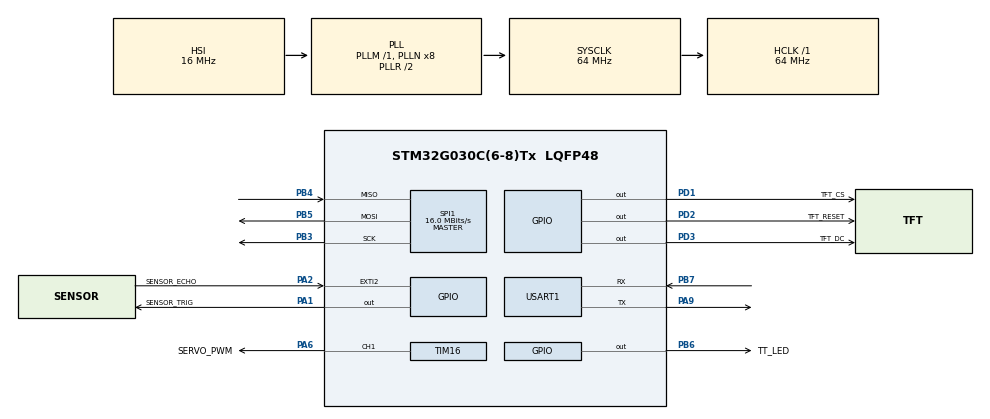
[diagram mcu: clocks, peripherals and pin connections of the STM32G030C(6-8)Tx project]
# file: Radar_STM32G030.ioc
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Dma.Request0=USART1_RX
Dma.Request1=USART1_TX
Dma.USART1_RX.0.Direction=DMA_PERIPH_TO_MEMORY
Dma.USART1_RX.0.EventEnable=DISABLE
Dma.USART1_RX.0.Instance=DMA1_Channel1
Dma.USART1_RX.0.MemDataAlignment=DMA_MDATAALIGN_BYTE
Dma.USART1_RX.0.MemInc=DMA_MINC_ENABLE
Dma.USART1_RX.0.Mode=DMA_NORMAL
Dma.USART1_RX.0.PeriphDataAlignment=DMA_PDATAALIGN_BYTE
Dma.USART1_RX.0.PeriphInc=DMA_PINC_DISABLE
Dma.USART1_RX.0.Polarity=HAL_DMAMUX_REQ_GEN_RISING
Dma.USART1_RX.0.Priority=DMA_PRIORITY_LOW
Dma.USART1_RX.0.RequestNumber=1
Dma.USART1_RX.0.SignalID=NONE
Dma.USART1_RX.0.SyncEnable=DISABLE
Dma.USART1_RX.0.SyncPolarity=HAL_DMAMUX_SYNC_NO_EVENT
Dma.USART1_RX.0.SyncRequestNumber=1
Dma.USART1_RX.0.SyncSignalID=NONE
Dma.USART1_TX.1.Direction=DMA_MEMORY_TO_PERIPH
Dma.USART1_TX.1.EventEnable=DISABLE
Dma.USART1_TX.1.Instance=DMA1_Channel2
Dma.USART1_TX.1.MemDataAlignment=DMA_MDATAALIGN_BYTE
Dma.USART1_TX.1.MemInc=DMA_MINC_ENABLE
Dma.USART1_TX.1.Mode=DMA_NORMAL
Dma.USART1_TX.1.PeriphDataAlignment=DMA_PDATAALIGN_BYTE
Dma.USART1_TX.1.PeriphInc=DMA_PINC_DISABLE
Dma.USART1_TX.1.Polarity=HAL_DMAMUX_REQ_GEN_RISING
Dma.USART1_TX.1.Priority=DMA_PRIORITY_LOW
Dma.USART1_TX.1.RequestNumber=1
Dma.USART1_TX.1.SignalID=NONE
Dma.USART1_TX.1.SyncEnable=DISABLE
Dma.USART1_TX.1.SyncPolarity=HAL_DMAMUX_SYNC_NO_EVENT
Dma.USART1_TX.1.SyncRequestNumber=1
Dma.USART1_TX.1.SyncSignalID=NONE
Mcu.Family=STM32G0
Mcu.Name=STM32G030C(6-8)Tx
Mcu.Package=LQFP48
NVIC.DMA1_Channel1_IRQn=true\:0\:0\:false\:false\:true\:false\:true\:true
NVIC.DMA1_Channel2_3_IRQn=true\:0\:0\:false\:false\:true\:false\:true\:true
NVIC.EXTI2_3_IRQn=true\:1\:0\:true\:false\:true\:true\:true\:true
NVIC.TIM14_IRQn=true\:1\:0\:true\:false\:true\:true\:true\:true
NVIC.TIM16_IRQn=true\:1\:0\:true\:true\:true\:1\:true\:true\:true
NVIC.TIM3_IRQn=true\:0\:0\:false\:false\:true\:true\:true\:true
NVIC.USART1_IRQn=true\:0\:0\:false\:false\:true\:true\:true\:true
PA1.GPIO_Label=SENSOR_TRIG
PA1.Signal=GPIO_Output
PA13.Mode=Serial_Wire
PA13.Signal=SYS_SWDIO
PA14-BOOT0.Mode=Serial_Wire
PA14-BOOT0.Signal=SYS_SWCLK
PA2.GPIO_Label=SENSOR_ECHO
PA2.GPIO_ModeDefaultEXTI=GPIO_MODE_IT_RISING_FALLING
PA2.Signal=GPXTI2
PA6.GPIO_Label=SERVO_PWM
PA6.Signal=S_TIM16_CH1
PA9.Mode=Asynchronous
PA9.Signal=USART1_TX
PB3.Mode=Full_Duplex_Master
PB3.Signal=SPI1_SCK
PB4.Mode=Full_Duplex_Master
PB4.Signal=SPI1_MISO
PB5.Mode=Full_Duplex_Master
PB5.Signal=SPI1_MOSI
PB6.GPIO_Label=TT_LED
PB6.PinState=GPIO_PIN_SET
PB6.Signal=GPIO_Output
PB7.Mode=Asynchronous
PB7.Signal=USART1_RX
PD1.GPIO_Label=TFT_CS
PD1.PinState=GPIO_PIN_SET
PD1.Signal=GPIO_Output
PD2.GPIO_Label=TFT_RESET
PD2.PinState=GPIO_PIN_SET
PD2.Signal=GPIO_Output
PD3.GPIO_Label=TFT_DC
PD3.PinState=GPIO_PIN_SET
PD3.Signal=GPIO_Output
ProjectManager.HeapSize=0x200
ProjectManager.StackSize=0x400
ProjectManager.TargetToolchain=STM32CubeIDE
RCC.ADCFreq_Value=64000000
RCC.AHBFreq_Value=64000000
RCC.CortexFreq_Value=64000000
RCC.EXTERNAL_CLOCK_VALUE=12288000
RCC.HCLKFreq_Value=64000000
RCC.HSE_VALUE=8000000
RCC.HSI_VALUE=16000000
RCC.LSE_VALUE=32768
RCC.SYSCLKFreq_VALUE=64000000
RCC.SYSCLKSource=RCC_SYSCLKSOURCE_PLLCLK
RCC.VCOOutputFreq_Value=128000000
SH.S_TIM16_CH1.0=TIM16_CH1,PWM Generation1 CH1
SPI1.BaudRatePrescaler=SPI_BAUDRATEPRESCALER_4
SPI1.CalculateBaudRate=16.0 MBits/s
SPI1.Direction=SPI_DIRECTION_2LINES
SPI1.Mode=SPI_MODE_MASTER
SPI1.VirtualType=VM_MASTER
TIM14.Period=1000-1
TIM14.Prescaler=64000-1
TIM16.Channel=TIM_CHANNEL_1
TIM16.Period=19999
TIM16.Prescaler=63
TIM16.Pulse=10000
TIM17.Prescaler=63
TIM3.Period=1000-1
TIM3.Prescaler=64000-1
USART1.RxPinLevelInvertParam=ADVFEATURE_RXINV_DISABLE
USART1.TxPinLevelInvertParam=ADVFEATURE_TXINV_DISABLE
USART1.VirtualMode-Asynchronous=VM_ASYNC
VP_TIM14_VS_ClockSourceINT.Mode=Enable_Timer
VP_TIM16_VS_ClockSourceINT.Mode=Enable_Timer
VP_TIM17_VS_ClockSourceINT.Mode=Enable_Timer
VP_TIM3_VS_ClockSourceINT.Mode=Internal
board=custom

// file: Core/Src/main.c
/* USER CODE BEGIN Header */
/**
 * @file main.c
 *
 * @brief Main source file of ultrasonic radar project.
 *
 * @author Kamil Kośnik, Kacper Radzikowski
 * @see https://github.com/FRSH-0109/Radar_Project_PMIK_2023Z
 *
 * \mainpage Ultrasonic Radar Project Documentation
 *
 * Project consists of few independent modules as servomechanism,
 * ultrasonic distance sensor, LCD display and more. Main goal of
 * the project was to achieve distance measurement on 180 degrees surface.
 * Everything is displayed in real time on the TFT LCD screen.
 * Device is able to communicate via uart iterface, which can be used to control
 * and parameterize whole device.
 *
 * \subsection Authors
 * Kamil Kośnik
 * Kacper Radzikowski
 *
 */
/* USER CODE END Header */
#include "main.h"
#include "dma.h"
#include "spi.h"
#include "tim.h"
#include "usart.h"
#include "gpio.h"

/* USER CODE BEGIN Includes */
#include <math.h>
#include "usart_custom.h"
#include "servo_driver.h"
#include "ILI9341.h"
#include "GFX_Color.h"
#include "fonts/font_8x5.h"
#include "distance_sensor.h"
#include "radar.h"
/* USER CODE END Includes */

/* USER CODE BEGIN PV */
servoDriverStruct servoPA6;					/**< Servo conncted to PA6 pin structure*/
distanceSensorStruct distanceSensorPA2;		/**< Sensor conncted to PA2 pin structure*/

radarStruct radar;							/**< Radar structure*/
drawHelperStruct drawHelper;				/**< Draw helper structure*/

UART_Custom_HandleTypeDef huartPC;			/**< Cusomt uart connected to PC structure*/
UART_Queue uartQueuePC;						/**< Uart connected to PC Queue*/
extern DMA_HandleTypeDef hdma_usart1_rx;
extern DMA_HandleTypeDef hdma_usart1_tx;
/* USER CODE END PV */

void SystemClock_Config(void);
static void MX_NVIC_Init(void);

int main(void)
{

  /* MCU Configuration--------------------------------------------------------*/

  /* Reset of all peripherals, Initializes the Flash interface and the Systick. */

	HAL_Init();

  /* Configure the system clock */
  SystemClock_Config();

  /* Initialize all configured peripherals */
  MX_GPIO_Init();
  MX_DMA_Init();
  MX_TIM16_Init();
  MX_SPI1_Init();
  MX_TIM17_Init();
  MX_TIM14_Init();
  MX_TIM3_Init();
  MX_USART1_UART_Init();

  /* Initialize interrupts */
  MX_NVIC_Init();
  /* USER CODE BEGIN 2 */

  ILI9341_Init(&hspi1);					/**< Init of display*/
  ILI9341_WriteScreen(ILI9341_BLACK);
  GFX_SetFont(font_8x5);

  servoDriverInit(&servoPA6, 0, 180, 700, 2650);	/**< Init of servo and sensor*/
  distanceSensorInit(&distanceSensorPA2, 58.0f);

  uartCustomInit(&huartPC, &huart1, MAX_UART_RX_DATA_LEN, MAX_UART_TX_DATA_LEN);	/**< Custom uart init*/
  uartCustomReceiveDMA(&huartPC);
  __HAL_DMA_DISABLE_IT(&hdma_usart1_rx, DMA_IT_HT);

  radarInit(&radar, &servoPA6, &htim3, &distanceSensorPA2, &htim14);	/**< Radar init*/
  radarMeasureStart(&radar);											/**< Radar measure start*/
  radarServoStart(&radar);												/**< Radar servo movement start*/

  drawSetup();															/**< DrawHelper struct init*/
  /* USER CODE END 2 */

  /* Infinite loop */
  while (1)
  {

    /* USER CODE BEGIN 3 */

	 uartQueueReceive(&uartQueuePC);			/**< Receiving data in uart queue*/
	 uartQueueTransmit(&uartQueuePC, &huartPC); /**< Transmitting data from uart queue*/

	 drawMeasure();								/**< Drawing radar's measure*/
	 drawMeasureScale();						/**< Drawing measure's scale*/

  }
  /* USER CODE END 3 */
}

void SystemClock_Config(void)
{
  RCC_OscInitTypeDef RCC_OscInitStruct = {0};
  RCC_ClkInitTypeDef RCC_ClkInitStruct = {0};

  /** Configure the main internal regulator output voltage
  */
  HAL_PWREx_ControlVoltageScaling(PWR_REGULATOR_VOLTAGE_SCALE1);

  /** Initializes the RCC Oscillators according to the specified parameters
  * in the RCC_OscInitTypeDef structure.
  */
  RCC_OscInitStruct.OscillatorType = RCC_OSCILLATORTYPE_HSI;
  RCC_OscInitStruct.HSIState = RCC_HSI_ON;
  RCC_OscInitStruct.HSIDiv = RCC_HSI_DIV1;
  RCC_OscInitStruct.HSICalibrationValue = RCC_HSICALIBRATION_DEFAULT;
  RCC_OscInitStruct.PLL.PLLState = RCC_PLL_ON;
  RCC_OscInitStruct.PLL.PLLSource = RCC_PLLSOURCE_HSI;
  RCC_OscInitStruct.PLL.PLLM = RCC_PLLM_DIV1;
  RCC_OscInitStruct.PLL.PLLN = 8;
  RCC_OscInitStruct.PLL.PLLP = RCC_PLLP_DIV2;
  RCC_OscInitStruct.PLL.PLLR = RCC_PLLR_DIV2;
  if (HAL_RCC_OscConfig(&RCC_OscInitStruct) != HAL_OK)
  {
    Error_Handler();
  }

  /** Initializes the CPU, AHB and APB buses clocks
  */
  RCC_ClkInitStruct.ClockType = RCC_CLOCKTYPE_HCLK|RCC_CLOCKTYPE_SYSCLK
                              |RCC_CLOCKTYPE_PCLK1;
  RCC_ClkInitStruct.SYSCLKSource = RCC_SYSCLKSOURCE_PLLCLK;
  RCC_ClkInitStruct.AHBCLKDivider = RCC_SYSCLK_DIV1;
  RCC_ClkInitStruct.APB1CLKDivider = RCC_HCLK_DIV1;

  if (HAL_RCC_ClockConfig(&RCC_ClkInitStruct, FLASH_LATENCY_2) != HAL_OK)
  {
    Error_Handler();
  }
}

/**
  * @brief NVIC Configuration.
  * @retval None
  */
static void MX_NVIC_Init(void)
{
  /* TIM16_IRQn interrupt configuration */
  HAL_NVIC_SetPriority(TIM16_IRQn, 1, 0);
  HAL_NVIC_EnableIRQ(TIM16_IRQn);
}

/* USER CODE BEGIN 4 */

void drawClear()
{
	ILI9341_WriteScreen(ILI9341_BLACK);
}

void drawSetup()
{
	drawHelper.drawScale = DRAW_SCALE_DEFAULT;
	drawHelper.measureScalesNumber = MEASURE_SCALES_NUMBER_DEFAULT;

	if(drawHelper.measureScaleY == NULL)
	{
		drawHelper.measureScaleY = malloc(drawHelper.measureScalesNumber * sizeof(uint16_t));
	}

	if(drawHelper.measureScaleCm == NULL)
	{
		drawHelper.measureScaleCm = malloc(drawHelper.measureScalesNumber * sizeof(uint16_t));
	}

	drawHelper.xp = ILI9341_TFTWIDTH / 2, drawHelper.yp = ILI9341_TFTHEIGHT - 10;
	for(uint8_t i = 0; i < drawHelper.measureScalesNumber; ++i)
	{
		drawHelper.measureScaleY[i] = (ILI9341_TFTHEIGHT * (i + 1)) / (drawHelper.measureScalesNumber + 1);
		drawHelper.measureScaleCm[i] = drawHelper.measureScaleY[i] / drawHelper.drawScale;
	}
}

bool drawSetupUpdate(double drawScale, uint8_t measureScalesNumber)
{
	if(drawScale < 0)
	{
		return false;
	}

	if(measureScalesNumber > 10)
	{
		return false;
	}
	drawHelper.drawScale = drawScale;
	drawHelper.measureScalesNumber = measureScalesNumber;

	if(drawHelper.measureScaleY != NULL)
	{
		drawHelper.measureScaleY = realloc(drawHelper.measureScaleY, drawHelper.measureScalesNumber * sizeof(uint16_t));
	}
	else
	{
		drawHelper.measureScaleY = malloc(drawHelper.measureScalesNumber * sizeof(uint16_t));
	}

	if(drawHelper.measureScaleCm != NULL)
	{
		drawHelper.measureScaleCm = realloc(drawHelper.measureScaleCm, drawHelper.measureScalesNumber * sizeof(uint16_t));
	}
	else
	{
		drawHelper.measureScaleCm = malloc(drawHelper.measureScalesNumber * sizeof(uint16_t));
	}

	for(uint8_t i = 0; i < drawHelper.measureScalesNumber; ++i)
	{
		drawHelper.measureScaleY[i] = (ILI9341_TFTHEIGHT * (i + 1)) / (drawHelper.measureScalesNumber + 1);
		drawHelper.measureScaleCm[i] = drawHelper.measureScaleY[i] / drawHelper.drawScale;
	}

	return true;
}

void drawMeasure()
{
	double posErrorTreshold = 0.5;
	double dist = radarGetMeasure(&radar);
	double pos = radarGetPosition(&radar);
	double radians = pos * DEGREES_TO_RADIANS;
	int16_t yk = round(sin(radians) * dist * drawHelper.drawScale);
	int16_t xk = round(cos(radians) * dist * drawHelper.drawScale);

	GFX_DrawLine(drawHelper.xp, drawHelper.yp, xk + ILI9341_TFTWIDTH / 2, drawHelper.yp - yk, ILI9341_GREEN);

	if((pos + posErrorTreshold) >= radarGetPositionMax(&radar) || (pos - posErrorTreshold) <= radarGetPositionMin(&radar) )
	{
		drawClear();
	}
}

void drawMeasureScale()
{
	for(uint8_t i = 0; i < drawHelper.measureScalesNumber; ++i)
	{
		GFX_DrawCircleHelper(drawHelper.xp, drawHelper.yp,  drawHelper.measureScaleY[i], 0x01, ILI9341_RED);
		GFX_DrawCircleHelper(drawHelper.xp, drawHelper.yp,  drawHelper.measureScaleY[i], 0x02, ILI9341_RED);
		char* value[10] = {0};
		uint8_t len = sprintf((char *__restrict)value, "%dcm", drawHelper.measureScaleCm[i]);
		GFX_DrawString(drawHelper.xp - len, drawHelper.yp - drawHelper.measureScaleY[i], (char *__restrict)value, ILI9341_RED);
	}
}

void HAL_TIM_PeriodElapsedCallback(TIM_HandleTypeDef *htim)
{
	if(htim == radar.sensorTim)
	{
		radarTriggerMeasure(&radar);
	}
	else if(htim == radar.servoTim)
	{
		radarServoUpdate(&radar);
	}
}

/* Distance sensor weak overwritten */
void distanceSensorTrigOn(distanceSensorStruct *sensor)
{
	if(sensor == &distanceSensorPA2)
	{
		HAL_GPIO_WritePin(SENSOR_TRIG_GPIO_Port, SENSOR_TRIG_Pin, GPIO_PIN_SET);
	}
}

void distanceSensorDelay(distanceSensorStruct *sensor, uint32_t delay)
{
	if(sensor == &distanceSensorPA2)
	{
		HAL_Delay(delay);
	}
}

void distanceSensorTrigOff(distanceSensorStruct *sensor)
{
	if(sensor == &distanceSensorPA2)
	{
		HAL_GPIO_WritePin(SENSOR_TRIG_GPIO_Port, SENSOR_TRIG_Pin, GPIO_PIN_RESET);
	}
}
/* Distance sensor weak overwritten */

void HAL_GPIO_EXTI_Rising_Callback(uint16_t GPIO_Pin)
{
	if(GPIO_Pin == SENSOR_ECHO_Pin)
	{
		HAL_TIM_Base_Start(&htim17);
	}
}

void HAL_GPIO_EXTI_Falling_Callback(uint16_t GPIO_Pin)
{
	if(GPIO_Pin == SENSOR_ECHO_Pin)
	{
		HAL_TIM_Base_Stop(&htim17);
		distanceSensorGetEcho(&distanceSensorPA2, __HAL_TIM_GET_COUNTER(&htim17));
		__HAL_TIM_SET_COUNTER(&htim17, 0);
	}
}

/* Servo weak overwritten */
void servoDriverStartTimer(servoDriverStruct *servoDriver)
{
	if(servoDriver == &servoPA6)
	{
		HAL_TIM_PWM_Start_IT(&htim16, TIM_CHANNEL_1);
	}
}

void servoDriverStopTimer(servoDriverStruct *servoDriver)
{
	if(servoDriver == &servoPA6)
	{
		HAL_TIM_PWM_Stop_IT(&htim16, TIM_CHANNEL_1);
	}
}

void servoDriverSetPulseWidth(servoDriverStruct *servoDriver)
{
	if(servoDriver == &servoPA6)
	{
		__HAL_TIM_SET_COMPARE(&htim16, TIM_CHANNEL_1, servoDriver->positionInPulseWidth);
	}
}

/* USER CODE END 4 */

void Error_Handler(void)
{
  __disable_irq();
  while (1)
  {
  }
}
